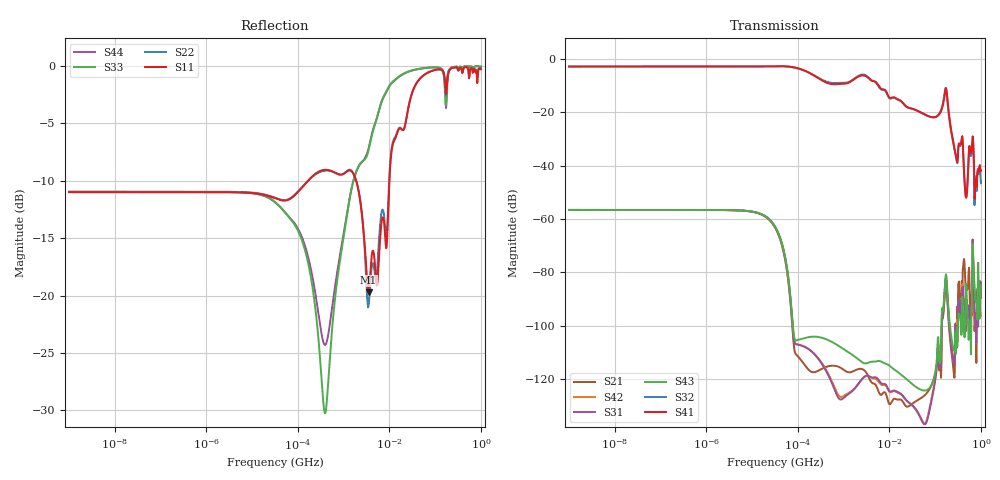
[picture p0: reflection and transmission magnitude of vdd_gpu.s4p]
! Touchstone(R) file created by SIwave 2017.2.0
! Touchstone(R) file created on Fri Mar 01 18:07:19 2019
! Port[1] = DUT0_DUT0_VDD_GPU_0_Group_DUT0_GND_Group
! Port[2] = DUT2_DUT2_VDD_GPU_2_Group_DUT2_GND_Group
! Port[3] = UFP_UVS64_100_8_100_UFP_UVS64_100_8_100_VDD_GPU_2_Group_UFP_UVS64_100_8_100_GND_Group
! Port[4] = UFP_UVS64_100_9_100_UFP_UVS64_100_9_100_VDD_GPU_0_Group_UFP_UVS64_100_9_100_GND_Group
! S-parameters
# Hz S MA R 0.001000
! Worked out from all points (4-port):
!   870 points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, 1 Hz to 1 GHz, reference 0.001 ohm
!   strongest paths, dB at 1 Hz, 350.4 Hz, 50.46 kHz, 7.104 MHz, 1 GHz:
!     S41: -2.9, -2.9, -2.8, -11.4, -41.8
!     S32: -2.9, -2.9, -2.8, -11.6, -46.6
!     S43: -56.6, -56.6, -72.6, -113.6, -84.8
!     S31: -56.6, -56.6, -73.0, -121.7, -83.7
!     S42: -56.6, -56.6, -73.1, -122.1, -96.2
!     S21: -56.6, -56.6, -73.6, -125.3, -89.5
!   lowest |S11| = -19.7 dB at 3.504 MHz (marker M1), VSWR 1.23, Z = 0.000938 + j0.000192 ohm
!   |S11| at or under -10 dB: start of sweep to 165.7 kHz; 1.876 MHz to 9.982 MHz (8.106 MHz wide, 137 % of centre)
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1  0.2821 -0.0  0.00148 -0.0  0.00148 -180.0  0.7179 -0.0
   0.00148 -0.0  0.2832 -0.0  0.7168 -0.0  0.00148 180.0
   0.00148 -180.0  0.7168 -0.0  0.2832 -0.0  0.00148 0.0
   0.7179 -0.0  0.00148 180.0  0.00148 0.0  0.2821 -0.0
12000.74  0.2787 -9.7  0.001326 -2.7  0.001331 -179.7  0.7201 -2.8
          0.001326 -2.7  0.2798 -10.1  0.7189 -2.8  0.00133 179.9
          0.001331 -179.7  0.7189 -2.8  0.2783 -4.0  0.001335 3.0
          0.7201 -2.8  0.00133 179.9  0.001335 3.0  0.2773 -4.3
392698.6  0.3529 -158.3  1.674e-06 -8.2  1.546e-06 103.5  0.3679 -22.0
          1.674e-06 -8.2  0.3498 -158.5  0.3833 -20.2  1.609e-06 106.0
          1.546e-06 103.5  0.3833 -20.2  0.0307 -167.8  5.721e-06 -21.7
          0.3679 -22.0  1.609e-06 106.0  5.721e-06 -21.7  0.06093 -168.4
3503922  0.1035 102.2  1.106e-06 -61.6  1.16e-06 170.4  0.4346 -31.8
         1.106e-06 -61.6  0.08968 108.1  0.446 -34.2  1.142e-06 167.7
         1.16e-06 170.4  0.446 -34.2  0.4291 54.1  2.047e-06 -23.9
         0.4346 -31.8  1.142e-06 167.7  2.047e-06 -23.9  0.4375 56.2
1.689362e8  0.7961 4.3  6.206e-05 110.3  7.094e-05 104.3  0.2689 -143.3
            6.206e-05 110.3  0.7469 7.1  0.2855 -156.6  7.442e-05 104.9
            7.094e-05 104.3  0.2855 -156.6  0.6787 -2.4  8.431e-05 99.0
            0.2689 -143.3  7.442e-05 104.9  8.431e-05 99.0  0.719 -7.5
4.712673e8  0.9891 3.2  3.762e-05 28.1  2.038e-05 -152.9  0.002522 -80.5
            3.762e-05 28.1  0.9889 3.3  0.002706 -83.4  2.001e-05 -149.7
            2.038e-05 -152.9  0.002706 -83.4  0.997 2.0  5.855e-05 -125.9
            0.002522 -80.5  2.001e-05 -149.7  5.855e-05 -125.9  0.9966 2.1
1e9  0.9662 2.4  3.344e-05 -81.2  6.51e-05 -19.9  0.008097 109.2
     3.344e-05 -81.2  0.9795 1.4  0.004675 145.7  1.543e-05 76.0
     6.51e-05 -19.9  0.004675 145.7  0.9934 1.0  5.74e-05 35.4
     0.008097 109.2  1.543e-05 76.0  5.74e-05 35.4  0.9944 1.1
